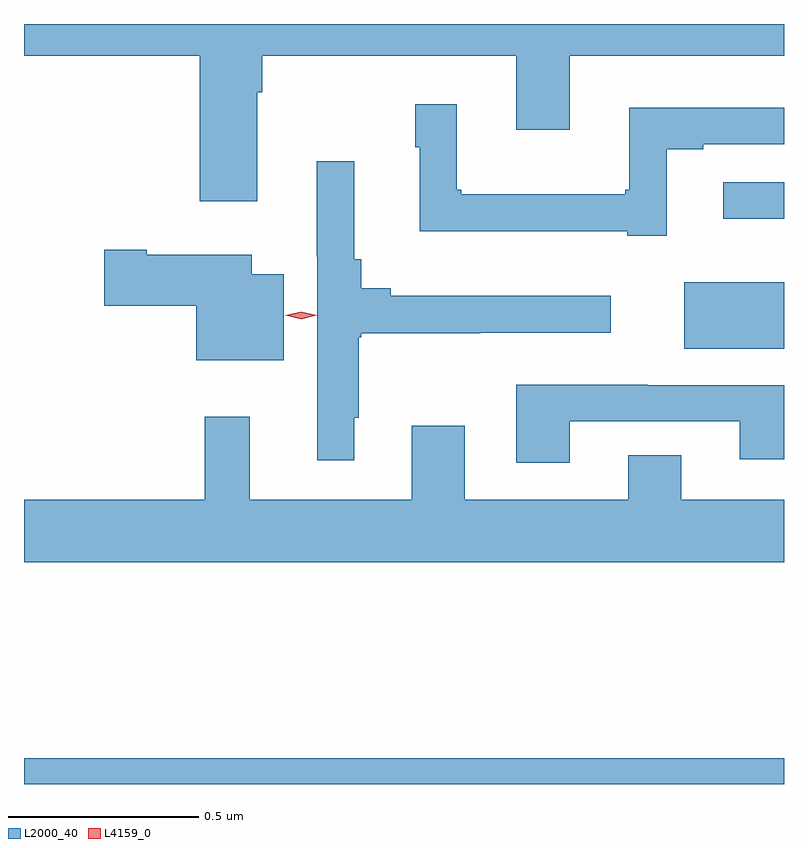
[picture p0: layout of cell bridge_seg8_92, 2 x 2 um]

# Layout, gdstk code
import gdstk
lib = gdstk.Library(unit=1e-6, precision=1e-09)
def R(c, l, rs):  # rectangles x0, y0, x1, y1
    for r in rs: c.add(gdstk.rectangle(r[:2], r[2:], *l))
def P(c, l, *ps):  # polygons
    for p in ps: c.add(gdstk.Polygon(p, *l))
L2000_40 = (2000, 40)
L4159_0 = (4159, 0)

bridge_seg8_92 = lib.new_cell('bridge_seg8_92')
R(bridge_seg8_92, L2000_40, [(837.563,1122.576,839.563,1122.644), (839.3,1123.721,839.563,1123.897), (839.403,1124.063,839.563,1124.16)])
P(bridge_seg8_92, L2000_40, [(838.177,1124.396),(838.19,1124.396),(838.19,1124.492),(838.859,1124.492),(838.859,1124.298),(838.999,1124.298),(838.999,1124.492),(839.563,1124.492),(839.563,1124.576),(837.563,1124.576),(837.563,1124.492),(838.025,1124.492),(838.025,1124.109),(838.177,1124.109)],
  [(839.254,1124.247),(839.35,1124.247),(839.35,1124.259),(839.563,1124.259),(839.563,1124.356),(839.156,1124.356),(839.156,1124.14),(839.145,1124.14),(839.145,1124.128),(838.714,1124.128),(838.714,1124.14),(838.702,1124.14),(838.702,1124.365),(838.593,1124.365),(838.593,1124.252),(838.604,1124.252),(838.604,1124.03),(839.15,1124.03),(839.15,1124.019),(839.254,1124.019)],
  [(838.432,1123.54),(838.444,1123.54),(838.444,1123.752),(838.451,1123.752),(838.451,1123.762),(838.763,1123.762),(838.763,1123.763),(839.107,1123.763),(839.107,1123.861),(838.528,1123.861),(838.528,1123.88),(838.451,1123.88),(838.451,1123.957),(838.432,1123.957),(838.432,1124.215),(838.334,1124.215),(838.334,1123.965),(838.335,1123.965),(838.335,1123.428),(838.432,1123.428)],
  [(838.246,1123.918),(838.162,1123.918),(838.162,1123.969),(837.886,1123.969),(837.886,1123.982),(837.774,1123.982),(837.774,1123.835),(838.016,1123.835),(838.016,1123.691),(838.246,1123.691)],
  [(838.999,1123.53),(839.447,1123.53),(839.447,1123.43),(839.563,1123.43),(839.563,1123.626),(839.204,1123.626),(839.204,1123.627),(838.859,1123.627),(838.859,1123.422),(838.999,1123.422)],
  [(839.563,1123.324),(839.293,1123.324),(839.293,1123.441),(839.153,1123.441),(839.153,1123.324),(838.723,1123.324),(838.723,1123.519),(838.583,1123.519),(838.583,1123.324),(838.157,1123.324),(838.157,1123.543),(838.039,1123.543),(838.039,1123.324),(837.563,1123.324),(837.563,1123.16),(839.563,1123.16)])
P(bridge_seg8_92, L4159_0, [(838.292,1123.799),(838.251,1123.809),(838.251,1123.809),(838.251,1123.809),(838.292,1123.819),(838.333,1123.809),(838.334,1123.809),(838.333,1123.809)])

lib.write_gds('bridge_seg8_92.gds')
